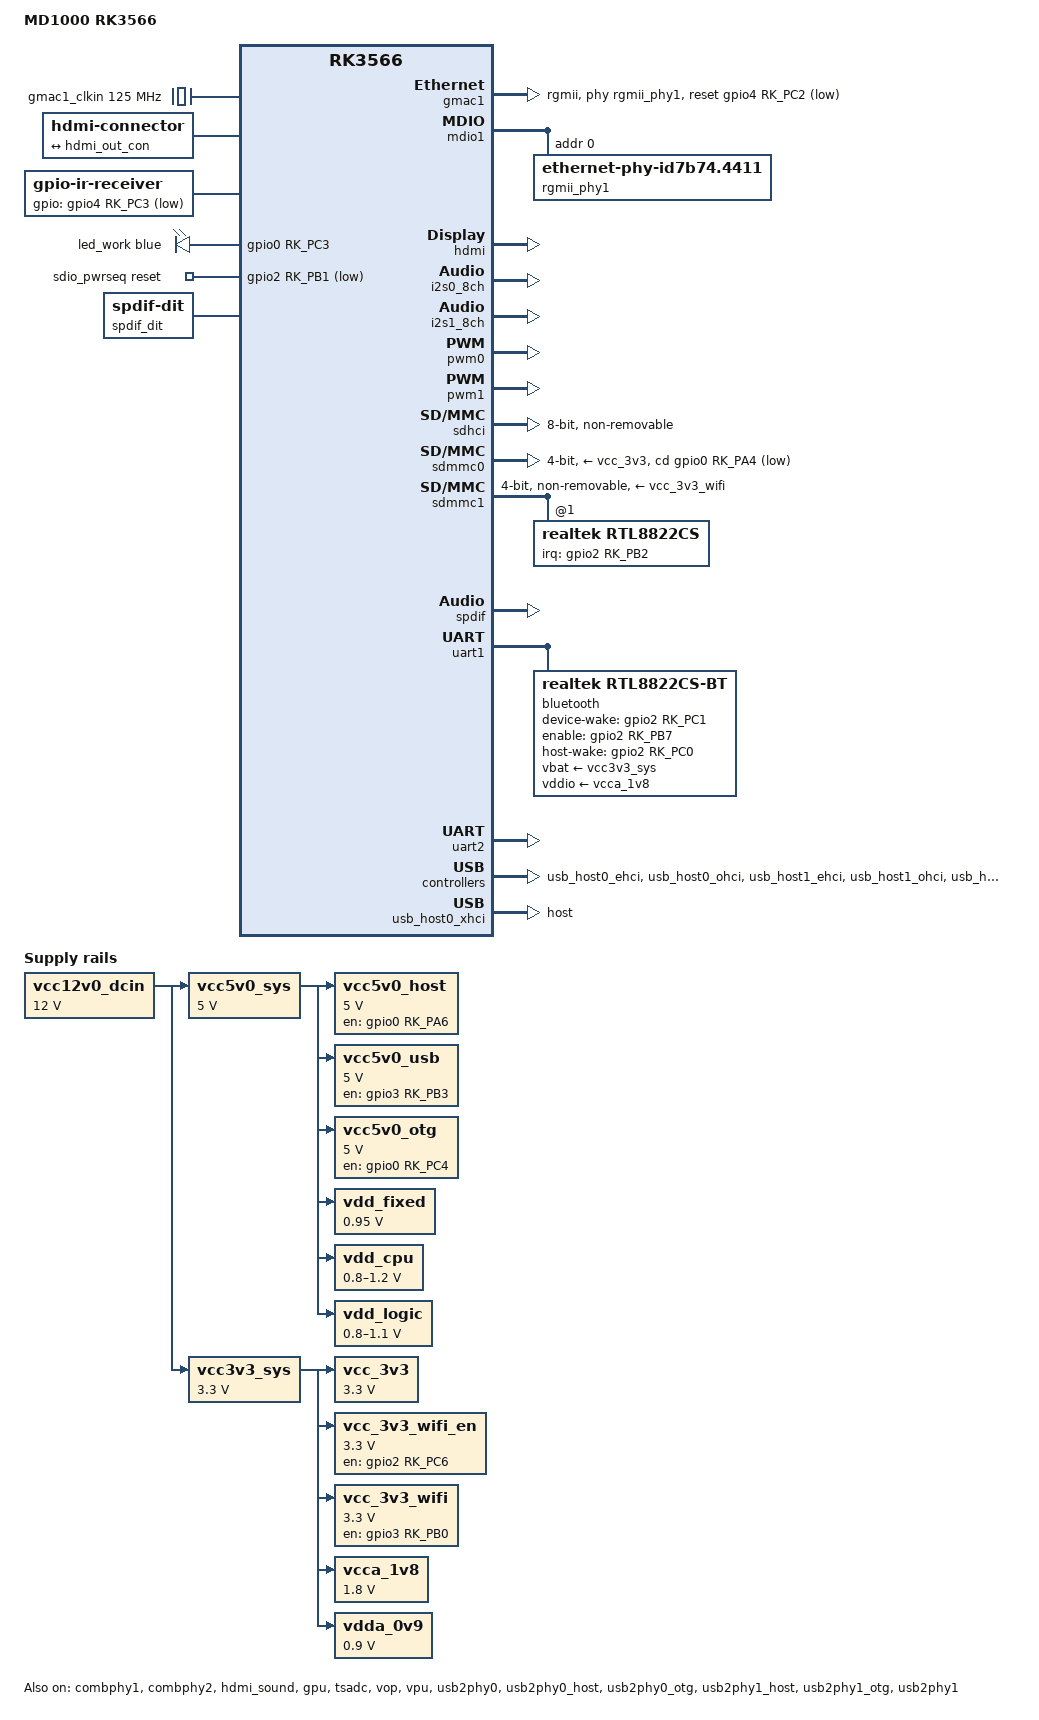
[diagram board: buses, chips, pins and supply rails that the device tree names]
// SPDX-License-Identifier: (GPL-2.0+ OR MIT)

/*
 * Author: Piotr Oniszczuk piotr.oniszczuk@gmail.com
 * Based on Quartz64 DT by: Peter Geis pgwipeout@gmail.com
 */

/dts-v1/;

#include <dt-bindings/gpio/gpio.h>
#include <dt-bindings/leds/common.h>
#include <dt-bindings/pinctrl/rockchip.h>
#include <dt-bindings/soc/rockchip,vop2.h>
#include "rk3566.dtsi"

/ {
	model = "MD1000 RK3566";
	compatible = "rockchip,rk3566-md1000", "rockchip,rk3566";

	aliases {
		ethernet0 = &gmac1;
		mmc0 = &sdhci;
		mmc1 = &sdmmc0;
		mmc2 = &sdmmc1;
	};

	chosen: chosen {
		stdout-path = "serial2:1500000n8";
	};

	gmac1_clkin: external-gmac1-clock {
		compatible = "fixed-clock";
		clock-frequency = <125000000>;
		clock-output-names = "gmac1_clkin";
		#clock-cells = <0>;
	};

	hdmi-con {
		compatible = "hdmi-connector";
		type = "a";

		port {
			hdmi_con_in: endpoint {
				remote-endpoint = <&hdmi_out_con>;
			};
		};
	};

	ir-receiver {
		compatible = "gpio-ir-receiver";
		gpios = <&gpio4 RK_PC3 GPIO_ACTIVE_LOW>;
		pinctrl-0 = <&ir_int>;
		linux,rc-map-name = "rc-beelink-gs1";
		status = "okay";
	};

	leds {
		compatible = "gpio-leds";

		led_work: led-0 {
			gpios = <&gpio0 RK_PC3 GPIO_ACTIVE_HIGH>;
			function = LED_FUNCTION_HEARTBEAT;
			color = <LED_COLOR_ID_BLUE>;
			linux,default-trigger = "heartbeat";
			pinctrl-names = "default";
			pinctrl-0 = <&led_work_en>;
		};
	};

	sdio_pwrseq: sdio-pwrseq {
		status = "okay";
		compatible = "mmc-pwrseq-simple";
		clocks = <&pmucru CLK_RTC_32K>;
		clock-names = "ext_clock";
		pinctrl-names = "default";
		pinctrl-0 = <&wifi_enable_h>;
		post-power-on-delay-ms = <200>;
		reset-gpios = <&gpio2 RK_PB1 GPIO_ACTIVE_LOW>;
	};

	spdif_dit: spdif-dit {
		compatible = "linux,spdif-dit";
		#sound-dai-cells = <0>;
	};

	spdif_sound: spdif-sound {
		compatible = "simple-audio-card";
		simple-audio-card,name = "SPDIF";

		simple-audio-card,cpu {
			sound-dai = <&spdif>;
		};

		simple-audio-card,codec {
			sound-dai = <&spdif_dit>;
		};
	};

	vcc12v0_dcin: regulator-vcc12v0-dcin {
		compatible = "regulator-fixed";
		regulator-name = "vcc12v0_dcin";
		regulator-always-on;
		regulator-boot-on;
		regulator-min-microvolt = <12000000>;
		regulator-max-microvolt = <12000000>;
	};

	vcc5v0_sys: regulator-vcc5v0-sys {
		compatible = "regulator-fixed";
		regulator-name = "vcc5v0_sys";
		regulator-always-on;
		regulator-boot-on;
		regulator-min-microvolt = <5000000>;
		regulator-max-microvolt = <5000000>;
		vin-supply = <&vcc12v0_dcin>;
	};

	vcc3v3_sys: regulator-vcc3v3-sys {
		compatible = "regulator-fixed";
		regulator-name = "vcc3v3_sys";
		regulator-always-on;
		regulator-boot-on;
		regulator-min-microvolt = <3300000>;
		regulator-max-microvolt = <3300000>;
		vin-supply = <&vcc12v0_dcin>;
	};

	vcc_3v3: regulator-vcc-3v3 {
		compatible = "regulator-fixed";
		regulator-name = "vcc_3v3";
		regulator-always-on;
		regulator-boot-on;
		regulator-min-microvolt = <3300000>;
		regulator-max-microvolt = <3300000>;
		vin-supply = <&vcc3v3_sys>;
	};

	vcc_3v3_wifi_en: regulator-vcc-3v3-wifi-en {
		compatible = "regulator-fixed";
		regulator-name = "vcc_3v3_wifi_en";
		regulator-always-on;
		regulator-boot-on;
		regulator-min-microvolt = <3300000>;
		regulator-max-microvolt = <3300000>;
		enable-active-high;
		gpio = <&gpio2 RK_PC6 GPIO_ACTIVE_HIGH>;
		pinctrl-names = "default";
		pinctrl-0 = <&wifi_en_h>;
		vin-supply = <&vcc3v3_sys>;
	};

	vcc_3v3_wifi: regulator-vcc-3v3-wifi {
		compatible = "regulator-fixed";
		regulator-name = "vcc_3v3_wifi";
		regulator-always-on;
		regulator-boot-on;
		regulator-min-microvolt = <3300000>;
		regulator-max-microvolt = <3300000>;
		enable-active-high;
		gpio = <&gpio3 RK_PB0 GPIO_ACTIVE_HIGH>;
		pinctrl-names = "default";
		pinctrl-0 = <&wifi_pwren_h>;
		vin-supply = <&vcc3v3_sys>;
	};

	vcc5v0_host: regulator-vcc5v0-host {
		compatible = "regulator-fixed";
		regulator-name = "vcc5v0_host";
		regulator-always-on;
		regulator-boot-on;
		regulator-min-microvolt = <5000000>;
		regulator-max-microvolt = <5000000>;
		enable-active-high;
		gpio = <&gpio0 RK_PA6 GPIO_ACTIVE_HIGH>;
		pinctrl-names = "default";
		pinctrl-0 = <&vcc5v0_host_en &hub_rst_3v3>;
		vin-supply = <&vcc5v0_sys>;
	};

	vcc5v0_usb: regulator-vcc5v0-usb {
		compatible = "regulator-fixed";
		regulator-name = "vcc5v0_usb";
		regulator-always-on;
		regulator-boot-on;
		regulator-min-microvolt = <5000000>;
		regulator-max-microvolt = <5000000>;
		enable-active-high;
		gpio = <&gpio3 RK_PB3 GPIO_ACTIVE_HIGH>;
		pinctrl-names = "default";
		pinctrl-0 = <&vcc5v0_usb_en>;
		vin-supply = <&vcc5v0_sys>;
	};

	vcc5v0_otg: regulator-vcc5v0-otg {
		compatible = "regulator-fixed";
		regulator-name = "vcc5v0_otg";
		regulator-always-on;
		regulator-boot-on;
		regulator-min-microvolt = <5000000>;
		regulator-max-microvolt = <5000000>;
		enable-active-high;
		gpio = <&gpio0 RK_PC4 GPIO_ACTIVE_HIGH>;
		pinctrl-names = "default";
		pinctrl-0 = <&vcc5v0_otg_en>;
		vin-supply = <&vcc5v0_sys>;
	};

	vcca_1v8: regulator-vcca-1v8 {
		compatible = "regulator-fixed";
		regulator-name = "vcca_1v8";
		regulator-always-on;
		regulator-boot-on;
		regulator-min-microvolt = <1800000>;
		regulator-max-microvolt = <1800000>;
		vin-supply = <&vcc3v3_sys>;
	};

	vdda_0v9: regulator-vdda-0v9 {
		compatible = "regulator-fixed";
		regulator-name = "vdda_0v9";
		regulator-always-on;
		regulator-boot-on;
		regulator-min-microvolt = <900000>;
		regulator-max-microvolt = <900000>;
		vin-supply = <&vcc3v3_sys>;
	};

	vdd_fixed: regulator-vdd-fixed {
		compatible = "regulator-fixed";
		regulator-name = "vdd_fixed";
		regulator-min-microvolt = <950000>;
		regulator-max-microvolt = <950000>;
		regulator-always-on;
		regulator-boot-on;
		vin-supply = <&vcc5v0_sys>;
	};

	vdd_cpu: regulator-vdd-cpu {
		compatible = "pwm-regulator";
		pwms = <&pwm0 0 5000 1>;
		regulator-name = "vdd_cpu";
		regulator-min-microvolt = <800000>;
		regulator-max-microvolt = <1200000>;
		regulator-always-on;
		regulator-boot-on;
		regulator-settling-time-up-us = <250>;
		pwm-supply = <&vcc5v0_sys>;
	};

	vdd_logic: regulator-vdd-logic {
		compatible = "pwm-regulator";
		pwms = <&pwm1 0 5000 1>;
		regulator-name = "vdd_logic";
		regulator-min-microvolt = <800000>;
		regulator-max-microvolt = <1100000>;
		regulator-always-on;
		regulator-boot-on;
		regulator-settling-time-up-us = <250>;
		pwm-supply = <&vcc5v0_sys>;
	};
};

&combphy1 {
	phy-supply = <&vcc5v0_host>;
	status = "okay";
};

&combphy2 {
	status = "okay";
};

&cpu0 {
	cpu-supply = <&vdd_cpu>;
};

&cpu1 {
	cpu-supply = <&vdd_cpu>;
};

&cpu2 {
	cpu-supply = <&vdd_cpu>;
};

&cpu3 {
	cpu-supply = <&vdd_cpu>;
};

&gmac1 {
	assigned-clocks = <&cru SCLK_GMAC1_RX_TX>, <&cru SCLK_GMAC1>;
	assigned-clock-parents = <&cru SCLK_GMAC1_RGMII_SPEED>, <&gmac1_clkin>;
	phy-mode = "rgmii";
	clock_in_out = "input";
	pinctrl-names = "default";
	pinctrl-0 = <&gmac1m1_miim
		    &gmac1m1_tx_bus2
		    &gmac1m1_rx_bus2
		    &gmac1m1_rgmii_clk
		    &gmac1m1_rgmii_bus
		    &gmac1m1_clkinout>;
	snps,reset-gpio = <&gpio4 RK_PC2 GPIO_ACTIVE_LOW>;
	snps,reset-active-low;
	/* Reset time is 20ms, 100ms for rtl8211f */
	snps,reset-delays-us = <0 20000 100000>;

	tx_delay = <0x4f>;
	rx_delay = <0x2d>;
	phy-handle = <&rgmii_phy1>;
	status = "okay";
};

&mdio1 {
	rgmii_phy1: ethernet-phy@0 {
		compatible = "ethernet-phy-id7b74.4411",
			     "ethernet-phy-ieee802.3-c22";
		reg = <0x0>;
	};
};

&hdmi {
	assigned-clocks = <&cru CLK_HDMI_CEC>;
	assigned-clock-rates = <32768>;
	avdd-0v9-supply = <&vdda_0v9>;
	avdd-1v8-supply = <&vcca_1v8>;
	status = "okay";
};

&hdmi_in {
	hdmi_in_vp0: endpoint {
		remote-endpoint = <&vp0_out_hdmi>;
	};
};

&hdmi_out {
	hdmi_out_con: endpoint {
		remote-endpoint = <&hdmi_con_in>;
	};
};

&hdmi_sound {
	status = "okay";
};

&gpu {
	status = "okay";
};

&i2s0_8ch {
	status = "okay";
};

&i2s1_8ch {
	rockchip,trcm-sync-tx-only;
	status = "okay";
};

&pinctrl {
	bt {
		bt_enable_h: bt-enable-h {
			rockchip,pins = <2 RK_PB7 RK_FUNC_GPIO &pcfg_pull_none>;
		};

		bt_host_wake_l: bt-host-wake-l {
			rockchip,pins = <2 RK_PC0 RK_FUNC_GPIO &pcfg_pull_down>;
		};

		bt_wake_l: bt-wake-l {
			rockchip,pins = <2 RK_PC1 RK_FUNC_GPIO &pcfg_pull_none>;
		};
	};

	sdio-pwrseq {
		wifi_enable_h: wifi-enable-h {
			rockchip,pins = <2 RK_PB1 RK_FUNC_GPIO &pcfg_pull_none>;
		};

		wifi_host_wake_h: wifi-host-wake-h {
			rockchip,pins = <2 RK_PB2 RK_FUNC_GPIO &pcfg_pull_up>;
		};

		wifi_en_h: wifi-en-h {
			rockchip,pins = <2 RK_PC6 RK_FUNC_GPIO &pcfg_pull_none>;
		};

		wifi_pwren_h: wifi-pwren-h {
			rockchip,pins = <3 RK_PB0 RK_FUNC_GPIO &pcfg_pull_none>;
		};
	};

	usb {
		vcc5v0_usb_en: vcc5v0-usb-en {
			rockchip,pins = <3 RK_PB3 RK_FUNC_GPIO &pcfg_pull_none>;
		};

		vcc5v0_host_en: vcc5v0-host-en {
			rockchip,pins = <0 RK_PA6 RK_FUNC_GPIO &pcfg_pull_none>;
		};

		vcc5v0_otg_en: vcc5v0-otg-en {
			rockchip,pins = <0 RK_PC4 RK_FUNC_GPIO &pcfg_pull_none>;
		};

		hub_rst_3v3: hub-rst-3v3 {
			rockchip,pins = <3 RK_PA6 RK_FUNC_GPIO &pcfg_pull_none>;
		};
	};

	ir {
		ir_int: ir-int {
			rockchip,pins = <4 RK_PC3 RK_FUNC_GPIO &pcfg_pull_none>;
		};
	};

	led {
		led_work_en: led_work_en {
			rockchip,pins = <0 RK_PC3 RK_FUNC_GPIO &pcfg_pull_none>;
		};
	};
};

&pmu_io_domains {
	pmuio2-supply = <&vcc_3v3>;
	vccio1-supply = <&vcc_3v3>;
	vccio3-supply = <&vcc_3v3>;
	vccio4-supply = <&vcca_1v8>;
	vccio5-supply = <&vcc_3v3>;
	vccio6-supply = <&vcca_1v8>;
	vccio7-supply = <&vcc_3v3>;
	status = "okay";
};

&pwm0 {
	status = "okay";
};

&pwm1 {
	status = "okay";
};

&sdhci {
	bus-width = <8>;
	mmc-hs200-1_8v;
	non-removable;
	status = "okay";
};

&sdmmc0 {
	bus-width = <4>;
	cap-sd-highspeed;
	cd-gpios = <&gpio0 RK_PA4 GPIO_ACTIVE_LOW>;
	disable-wp;
	pinctrl-names = "default";
	pinctrl-0 = <&sdmmc0_bus4 &sdmmc0_clk &sdmmc0_cmd &sdmmc0_det>;
	vmmc-supply = <&vcc_3v3>;
	status = "okay";
};

&sdmmc1 {
	/* Realtek RTL8822CS WiFi on SDIO */
	#address-cells = <1>;
	#size-cells = <0>;
	bus-width = <4>;
	clock-frequency = <150000000>;
	cap-sdio-irq;
	cap-sd-highspeed;
	sd-uhs-sdr104;
	keep-power-in-suspend;
	mmc-pwrseq = <&sdio_pwrseq>;
	non-removable;
	pinctrl-names = "default";
	pinctrl-0 = <&sdmmc1_bus4 &sdmmc1_cmd &sdmmc1_clk>;
	vmmc-supply = <&vcc_3v3_wifi>;
	vqmmc-supply = <&vcca_1v8>;
	status = "okay";

	rtl8822cs: wifi@1 {
		compatible = "realtek,rtl8822cs";
		reg = <1>;
		interrupt-parent = <&gpio2>;
		interrupts = <RK_PB2 IRQ_TYPE_LEVEL_HIGH>;
		interrupt-names = "host-wake";
		pinctrl-names = "default";
		pinctrl-0 = <&wifi_host_wake_h>;
	};
};

&spdif {
	status = "okay";
};

&spi1 {
	pinctrl-names = "default";
	pinctrl-0 = <&spi1m1_cs0 &spi1m1_pins>;
};

&tsadc {
	/* tshut mode 0:CRU 1:GPIO */
	rockchip,hw-tshut-mode = <1>;
	/* tshut polarity 0:LOW 1:HIGH */
	rockchip,hw-tshut-polarity = <0>;
	status = "okay";
};

&uart1 {
	pinctrl-names = "default";
	pinctrl-0 = <&uart1m0_xfer &uart1m0_ctsn &uart1m0_rtsn>;
	status = "okay";
	uart-has-rtscts;

	bluetooth {
		compatible = "realtek,rtl8822cs-bt";
		clocks = <&pmucru CLK_RTC_32K>;
		clock-names = "lpo";
		device-wake-gpios = <&gpio2 RK_PC1 GPIO_ACTIVE_HIGH>;
		enable-gpios = <&gpio2 RK_PB7 GPIO_ACTIVE_HIGH>;
		host-wake-gpios = <&gpio2 RK_PC0 GPIO_ACTIVE_HIGH>;
		max-speed = <1500000>;
		pinctrl-names = "default";
		pinctrl-0 = <&bt_host_wake_l &bt_wake_l &bt_enable_h>;
		vbat-supply = <&vcc3v3_sys>;
		vddio-supply = <&vcca_1v8>;
	};
};

&uart2 {
	status = "okay";
};

&vop {
	assigned-clocks = <&cru DCLK_VOP0>, <&cru DCLK_VOP1>;
	assigned-clock-parents = <&pmucru PLL_HPLL>, <&cru PLL_VPLL>;
	status = "okay";
};

&vop_mmu {
	status = "okay";
};

&vp0 {
	vp0_out_hdmi: endpoint@ROCKCHIP_VOP2_EP_HDMI0 {
		reg = <ROCKCHIP_VOP2_EP_HDMI0>;
		remote-endpoint = <&hdmi_in_vp0>;
	};
};

&vpu {
	status = "okay";
};

&vdpu_mmu {
	status = "okay";
};

&usb2phy0 {
	status = "okay";
};

&usb2phy0_host {
	phy-supply = <&vcc5v0_host>;
	status = "okay";
};

&usb2phy0_otg {
	vbus-supply = <&vcc5v0_otg>;
	status = "okay";
};

&usb2phy1_host {
	phy-supply = <&vcc5v0_host>;
	status = "okay";
};

&usb2phy1_otg {
	phy-supply = <&vcc5v0_host>;
	status = "okay";
};

&usb2phy1 {
	status = "okay";
};

&usb_host0_ehci {
	status = "okay";
};

&usb_host0_ohci {
	status = "okay";
};

&usb_host0_xhci {
	/delete-property/ extcon;
	dr_mode = "host";
	status = "okay";
};

&usb_host1_ehci {
	status = "okay";
};

&usb_host1_ohci {
	status = "okay";
};

&usb_host1_xhci {
	status = "okay";
};
